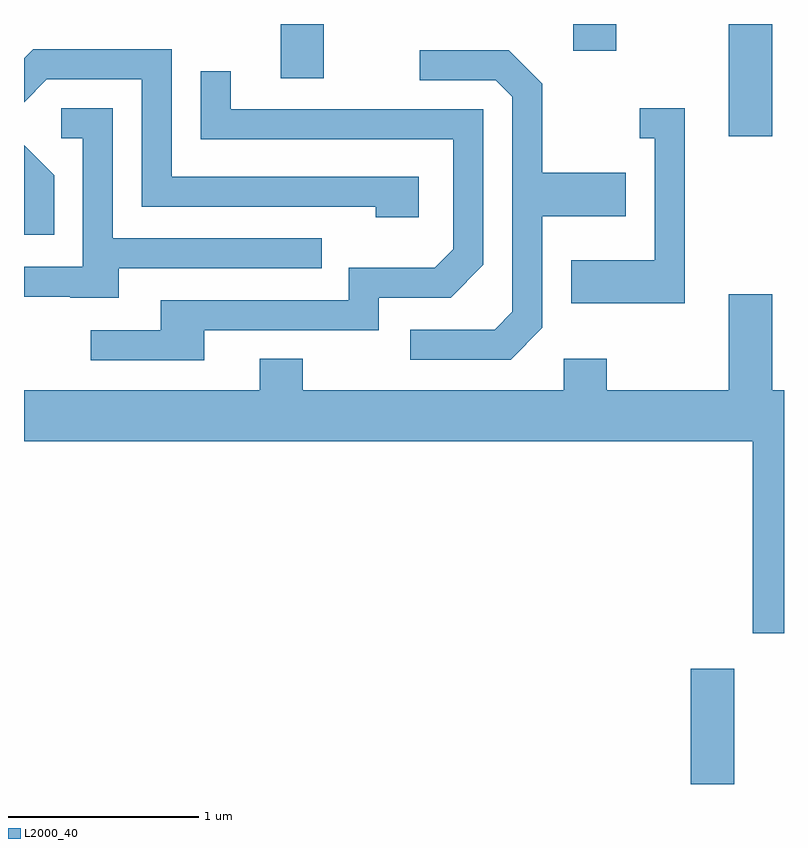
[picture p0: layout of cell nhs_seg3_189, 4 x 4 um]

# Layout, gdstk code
import gdstk
lib = gdstk.Library(unit=1e-6, precision=1e-09)
def R(c, l, rs):  # rectangles x0, y0, x1, y1
    for r in rs: c.add(gdstk.rectangle(r[:2], r[2:], *l))
def P(c, l, *ps):  # polygons
    for p in ps: c.add(gdstk.Polygon(p, *l))
L2000_40 = (2000, 40)

nhs_seg3_189 = lib.new_cell('nhs_seg3_189')
R(nhs_seg3_189, L2000_40, [(193.121,1221.892,193.349,1222.499), (193.321,1225.301,193.549,1225.892), (190.961,1225.606,191.189,1225.892), (192.501,1225.751,192.729,1225.892)])
P(nhs_seg3_189, L2000_40, [(191.689,1225.089),(190.389,1225.089),(190.389,1225.759),(189.659,1225.759),(189.611,1225.711),(189.611,1225.48),(189.732,1225.601),(190.231,1225.601),(190.231,1224.931),(191.461,1224.931),(191.461,1224.876),(191.689,1224.876)],
  [(192.339,1224.294),(192.339,1224.881),(192.779,1224.881),(192.779,1225.109),(192.339,1225.109),(192.339,1225.577),(192.162,1225.754),(191.693,1225.754),(191.693,1225.596),(192.094,1225.596),(192.181,1225.509),(192.181,1224.377),(192.089,1224.284),(191.643,1224.284),(191.643,1224.126),(192.172,1224.126)],
  [(190.559,1224.281),(191.479,1224.281),(191.479,1224.451),(191.857,1224.451),(192.029,1224.624),(192.029,1225.444),(190.699,1225.444),(190.699,1225.643),(190.541,1225.643),(190.541,1225.286),(191.871,1225.286),(191.871,1224.707),(191.774,1224.609),(191.321,1224.609),(191.321,1224.439),(190.331,1224.439),(190.331,1224.279),(189.963,1224.279),(189.963,1224.121),(190.559,1224.121)],
  [(193.089,1225.449),(192.853,1225.449),(192.853,1225.291),(192.931,1225.291),(192.931,1224.649),(192.491,1224.649),(192.491,1224.421),(193.089,1224.421)],
  [(190.109,1224.606),(191.178,1224.606),(191.178,1224.764),(190.079,1224.764),(190.079,1225.449),(189.808,1225.449),(189.808,1225.291),(189.921,1225.291),(189.921,1224.614),(189.611,1224.614),(189.611,1224.456),(189.855,1224.456),(189.855,1224.451),(190.109,1224.451)],
  [(189.769,1225.097),(189.611,1225.255),(189.611,1224.783),(189.769,1224.783)],
  [(193.611,1223.964),(193.549,1223.964),(193.549,1224.469),(193.321,1224.469),(193.321,1223.964),(192.679,1223.964),(192.679,1224.129),(192.451,1224.129),(192.451,1223.964),(191.079,1223.964),(191.079,1224.129),(190.851,1224.129),(190.851,1223.964),(189.611,1223.964),(189.611,1223.696),(193.446,1223.696),(193.446,1222.686),(193.611,1222.686)])

lib.write_gds('nhs_seg3_189.gds')
